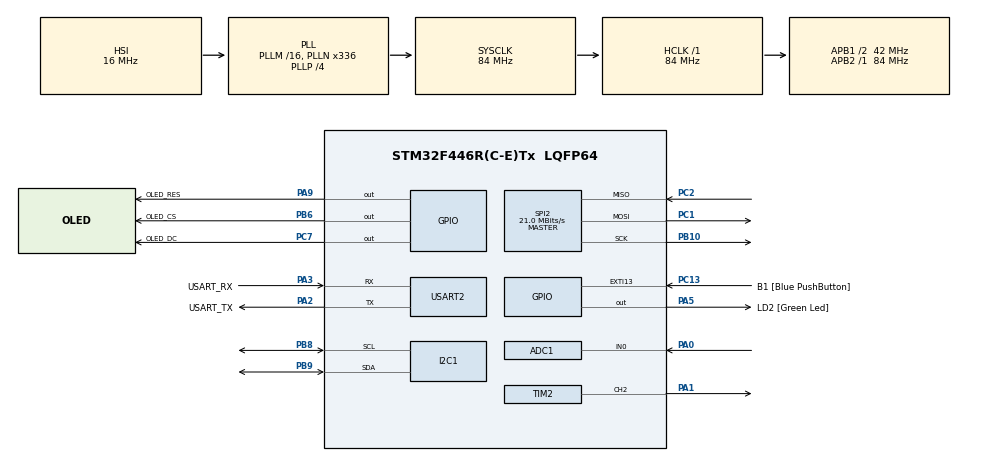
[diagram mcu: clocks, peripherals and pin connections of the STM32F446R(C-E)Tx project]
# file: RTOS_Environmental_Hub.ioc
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ADC1.Channel-0\#ChannelRegularConversion=ADC_CHANNEL_0
ADC1.NbrOfConversionFlag=1
ADC1.Rank-0\#ChannelRegularConversion=1
ADC1.SamplingTime-0\#ChannelRegularConversion=ADC_SAMPLETIME_3CYCLES
ADC1.master=1
FREERTOS.Queues01=temperatureQueue,1,float,0,Dynamic,NULL,NULL;lightLevelQueue,1,uint32_t,0,Dynamic,NULL,NULL;pwmQueue,1,uint32_t,0,Dynamic,NULL,NULL
FREERTOS.Tasks01=defaultTask,24,512,StartDefaultTask,Default,NULL,Dynamic,NULL,NULL;readSensorTask,24,128,StartReadSensorTask,Default,NULL,Dynamic,NULL,NULL;readADCTask,24,128,StartReadADCTask,Default,NULL,Dynamic,NULL,NULL;controlPWMTask,24,256,StartControlPWMTask,Default,NULL,Dynamic,NULL,NULL
FREERTOS.configUSE_NEWLIB_REENTRANT=1
Mcu.Family=STM32F4
Mcu.Name=STM32F446R(C-E)Tx
Mcu.Package=LQFP64
NVIC.EXTI15_10_IRQn=true\:5\:0\:false\:false\:true\:true\:true\:true\:true
NVIC.PriorityGroup=NVIC_PRIORITYGROUP_4
NVIC.TIM1_UP_TIM10_IRQn=true\:15\:0\:false\:false\:true\:false\:false\:true\:true
NVIC.TimeBase=TIM1_UP_TIM10_IRQn
NVIC.TimeBaseIP=TIM1
PA0-WKUP.Signal=ADCx_IN0
PA1.Signal=S_TIM2_CH2
PA13.GPIO_Label=TMS
PA13.Mode=Serial_Wire
PA13.Signal=SYS_JTMS-SWDIO
PA14.GPIO_Label=TCK
PA14.Mode=Serial_Wire
PA14.Signal=SYS_JTCK-SWCLK
PA2.GPIO_Label=USART_TX
PA2.Mode=Asynchronous
PA2.Signal=USART2_TX
PA3.GPIO_Label=USART_RX
PA3.Mode=Asynchronous
PA3.Signal=USART2_RX
PA5.GPIO_Label=LD2 [Green Led]
PA5.Signal=GPIO_Output
PA9.GPIO_Label=OLED_RES
PA9.Signal=GPIO_Output
PB10.Mode=Full_Duplex_Master
PB10.Signal=SPI2_SCK
PB3.GPIO_Label=SWO
PB3.Signal=SYS_JTDO-SWO
PB6.GPIO_Label=OLED_CS
PB6.Signal=GPIO_Output
PB8.Mode=I2C
PB8.Signal=I2C1_SCL
PB9.Mode=I2C
PB9.Signal=I2C1_SDA
PC1.Mode=Full_Duplex_Master
PC1.Signal=SPI2_MOSI
PC13.GPIO_Label=B1 [Blue PushButton]
PC13.GPIO_ModeDefaultEXTI=GPIO_MODE_IT_FALLING
PC13.Signal=GPXTI13
PC14-OSC32_IN.Mode=LSE-External-Oscillator
PC14-OSC32_IN.Signal=RCC_OSC32_IN
PC15-OSC32_OUT.Mode=LSE-External-Oscillator
PC15-OSC32_OUT.Signal=RCC_OSC32_OUT
PC2.Mode=Full_Duplex_Master
PC2.Signal=SPI2_MISO
PC7.GPIO_Label=OLED_DC
PC7.Signal=GPIO_Output
PH0-OSC_IN.Mode=HSE-External-Oscillator
PH0-OSC_IN.Signal=RCC_OSC_IN
PH1-OSC_OUT.Mode=HSE-External-Oscillator
PH1-OSC_OUT.Signal=RCC_OSC_OUT
ProjectManager.HeapSize=0x200
ProjectManager.StackSize=0x400
ProjectManager.TargetToolchain=STM32CubeIDE
RCC.48MHZClocksFreq_Value=84000000
RCC.AHBFreq_Value=84000000
RCC.APB1CLKDivider=RCC_HCLK_DIV2
RCC.APB1Freq_Value=42000000
RCC.APB1TimFreq_Value=84000000
RCC.APB2Freq_Value=84000000
RCC.APB2TimFreq_Value=84000000
RCC.CortexFreq_Value=84000000
RCC.FLatency-AdvancedSettings=FLASH_LATENCY_2
RCC.HCLKFreq_Value=84000000
RCC.HSE_VALUE=8000000
RCC.HSI_VALUE=16000000
RCC.PLLN=336
RCC.PLLP=RCC_PLLP_DIV4
RCC.SYSCLKFreq_VALUE=84000000
RCC.SYSCLKSource=RCC_SYSCLKSOURCE_PLLCLK
RCC.USBFreq_Value=168000000
RCC.VCOOutputFreq_Value=336000000
SH.ADCx_IN0.0=ADC1_IN0,IN0
SH.S_TIM2_CH2.0=TIM2_CH2,PWM Generation2 CH2
SPI2.CalculateBaudRate=21.0 MBits/s
SPI2.Direction=SPI_DIRECTION_2LINES
SPI2.Mode=SPI_MODE_MASTER
SPI2.VirtualType=VM_MASTER
TIM2.Channel-PWM\ Generation2\ CH2=TIM_CHANNEL_2
TIM2.Period=1000
USART2.VirtualMode=VM_ASYNC
VP_FREERTOS_VS_CMSIS_V2.Mode=CMSIS_V2
VP_SYS_VS_tim1.Mode=TIM1
VP_TIM2_VS_ClockSourceINT.Mode=Internal
board=NUCLEO-F446RE

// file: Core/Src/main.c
/* USER CODE BEGIN Header */
/**
 ******************************************************************************
 * @file           : main.c
 * @brief          : Main program body
 ******************************************************************************
 * @attention
 *
 * Copyright (c) 2025 STMicroelectronics.
 * All rights reserved.
 *
 * This software is licensed under terms that can be found in the LICENSE file
 * in the root directory of this software component.
 * If no LICENSE file comes with this software, it is provided AS-IS.
 *
 ******************************************************************************
 */
/* USER CODE END Header */
#include "main.h"
#include "cmsis_os.h"

/* USER CODE BEGIN Includes */
#include "bmp280.h"
#include <stdio.h>
#include "sh1106.h"
#include "fonts.h"
/* USER CODE END Includes */

/* USER CODE BEGIN PD */
#define TIMEOUT 100
/* USER CODE END PD */

ADC_HandleTypeDef hadc1;

I2C_HandleTypeDef hi2c1;

SPI_HandleTypeDef hspi2;

TIM_HandleTypeDef htim2;

UART_HandleTypeDef huart2;

/* Definitions for defaultTask */
osThreadId_t defaultTaskHandle;
const osThreadAttr_t defaultTask_attributes = {
  .name = "defaultTask",
  .stack_size = 512 * 4,
  .priority = (osPriority_t) osPriorityNormal,
};
/* Definitions for readSensorTask */
osThreadId_t readSensorTaskHandle;
const osThreadAttr_t readSensorTask_attributes = {
  .name = "readSensorTask",
  .stack_size = 128 * 4,
  .priority = (osPriority_t) osPriorityNormal,
};
/* Definitions for readADCTask */
osThreadId_t readADCTaskHandle;
const osThreadAttr_t readADCTask_attributes = {
  .name = "readADCTask",
  .stack_size = 128 * 4,
  .priority = (osPriority_t) osPriorityNormal,
};
/* Definitions for controlPWMTask */
osThreadId_t controlPWMTaskHandle;
const osThreadAttr_t controlPWMTask_attributes = {
  .name = "controlPWMTask",
  .stack_size = 256 * 4,
  .priority = (osPriority_t) osPriorityNormal,
};
/* Definitions for temperatureQueue */
osMessageQueueId_t temperatureQueueHandle;
const osMessageQueueAttr_t temperatureQueue_attributes = {
  .name = "temperatureQueue"
};
/* Definitions for lightLevelQueue */
osMessageQueueId_t lightLevelQueueHandle;
const osMessageQueueAttr_t lightLevelQueue_attributes = {
  .name = "lightLevelQueue"
};
/* Definitions for pwmQueue */
osMessageQueueId_t pwmQueueHandle;
const osMessageQueueAttr_t pwmQueue_attributes = {
  .name = "pwmQueue"
};

void SystemClock_Config(void);
static void MX_GPIO_Init(void);
static void MX_USART2_UART_Init(void);
static void MX_I2C1_Init(void);
static void MX_ADC1_Init(void);
static void MX_TIM2_Init(void);
static void MX_SPI2_Init(void);
void StartDefaultTask(void *argument);
void StartReadSensorTask(void *argument);
void StartReadADCTask(void *argument);
void StartControlPWMTask(void *argument);

int main(void)
{

  /* MCU Configuration--------------------------------------------------------*/

  /* Reset of all peripherals, Initializes the Flash interface and the Systick. */
  HAL_Init();

  /* Configure the system clock */
  SystemClock_Config();

  /* Initialize all configured peripherals */
  MX_GPIO_Init();
  MX_USART2_UART_Init();
  MX_I2C1_Init();
  MX_ADC1_Init();
  MX_TIM2_Init();
  MX_SPI2_Init();
  /* USER CODE BEGIN 2 */
	if (BMP280_Check() == BMP280_SUCCESS) {
		BMP280_Read_Calibration();

		BMP280_SetOSRST(BMP280_OSRS_T_x16);
		BMP280_SetOSRSP(BMP280_OSRS_P_x16);

		//set the sensor to Normal Mode to take continuous measurements
		BMP280_SetMode(BMP280_MODE_NORMAL);
	}
	HAL_TIM_PWM_Start(&htim2, TIM_CHANNEL_2);

	sh1106_Init();
  /* USER CODE END 2 */

  /* Init scheduler */
  osKernelInitialize();

  /* Create the queue(s) */
  /* creation of temperatureQueue */
  temperatureQueueHandle = osMessageQueueNew (1, sizeof(float), &temperatureQueue_attributes);

  /* creation of lightLevelQueue */
  lightLevelQueueHandle = osMessageQueueNew (1, sizeof(uint32_t), &lightLevelQueue_attributes);

  /* creation of pwmQueue */
  pwmQueueHandle = osMessageQueueNew (1, sizeof(uint32_t), &pwmQueue_attributes);

  /* Create the thread(s) */
  /* creation of defaultTask */
  defaultTaskHandle = osThreadNew(StartDefaultTask, NULL, &defaultTask_attributes);

  /* creation of readSensorTask */
  readSensorTaskHandle = osThreadNew(StartReadSensorTask, NULL, &readSensorTask_attributes);

  /* creation of readADCTask */
  readADCTaskHandle = osThreadNew(StartReadADCTask, NULL, &readADCTask_attributes);

  /* creation of controlPWMTask */
  controlPWMTaskHandle = osThreadNew(StartControlPWMTask, NULL, &controlPWMTask_attributes);

  /* Start scheduler */
  osKernelStart();

  /* We should never get here as control is now taken by the scheduler */

  /* Infinite loop */
	while (1)
	{

	}
}

void SystemClock_Config(void)
{
  RCC_OscInitTypeDef RCC_OscInitStruct = {0};
  RCC_ClkInitTypeDef RCC_ClkInitStruct = {0};

  /** Configure the main internal regulator output voltage
  */
  __HAL_RCC_PWR_CLK_ENABLE();
  __HAL_PWR_VOLTAGESCALING_CONFIG(PWR_REGULATOR_VOLTAGE_SCALE3);

  /** Initializes the RCC Oscillators according to the specified parameters
  * in the RCC_OscInitTypeDef structure.
  */
  RCC_OscInitStruct.OscillatorType = RCC_OSCILLATORTYPE_HSI;
  RCC_OscInitStruct.HSIState = RCC_HSI_ON;
  RCC_OscInitStruct.HSICalibrationValue = RCC_HSICALIBRATION_DEFAULT;
  RCC_OscInitStruct.PLL.PLLState = RCC_PLL_ON;
  RCC_OscInitStruct.PLL.PLLSource = RCC_PLLSOURCE_HSI;
  RCC_OscInitStruct.PLL.PLLM = 16;
  RCC_OscInitStruct.PLL.PLLN = 336;
  RCC_OscInitStruct.PLL.PLLP = RCC_PLLP_DIV4;
  RCC_OscInitStruct.PLL.PLLQ = 2;
  RCC_OscInitStruct.PLL.PLLR = 2;
  if (HAL_RCC_OscConfig(&RCC_OscInitStruct) != HAL_OK)
  {
    Error_Handler();
  }

  /** Initializes the CPU, AHB and APB buses clocks
  */
  RCC_ClkInitStruct.ClockType = RCC_CLOCKTYPE_HCLK|RCC_CLOCKTYPE_SYSCLK
                              |RCC_CLOCKTYPE_PCLK1|RCC_CLOCKTYPE_PCLK2;
  RCC_ClkInitStruct.SYSCLKSource = RCC_SYSCLKSOURCE_PLLCLK;
  RCC_ClkInitStruct.AHBCLKDivider = RCC_SYSCLK_DIV1;
  RCC_ClkInitStruct.APB1CLKDivider = RCC_HCLK_DIV2;
  RCC_ClkInitStruct.APB2CLKDivider = RCC_HCLK_DIV1;

  if (HAL_RCC_ClockConfig(&RCC_ClkInitStruct, FLASH_LATENCY_2) != HAL_OK)
  {
    Error_Handler();
  }
}

static void MX_ADC1_Init(void)
{

  ADC_ChannelConfTypeDef sConfig = {0};

  /** Configure the global features of the ADC (Clock, Resolution, Data Alignment and number of conversion)
  */
  hadc1.Instance = ADC1;
  hadc1.Init.ClockPrescaler = ADC_CLOCK_SYNC_PCLK_DIV4;
  hadc1.Init.Resolution = ADC_RESOLUTION_12B;
  hadc1.Init.ScanConvMode = DISABLE;
  hadc1.Init.ContinuousConvMode = DISABLE;
  hadc1.Init.DiscontinuousConvMode = DISABLE;
  hadc1.Init.ExternalTrigConvEdge = ADC_EXTERNALTRIGCONVEDGE_NONE;
  hadc1.Init.ExternalTrigConv = ADC_SOFTWARE_START;
  hadc1.Init.DataAlign = ADC_DATAALIGN_RIGHT;
  hadc1.Init.NbrOfConversion = 1;
  hadc1.Init.DMAContinuousRequests = DISABLE;
  hadc1.Init.EOCSelection = ADC_EOC_SINGLE_CONV;
  if (HAL_ADC_Init(&hadc1) != HAL_OK)
  {
    Error_Handler();
  }

  /** Configure for the selected ADC regular channel its corresponding rank in the sequencer and its sample time.
  */
  sConfig.Channel = ADC_CHANNEL_0;
  sConfig.Rank = 1;
  sConfig.SamplingTime = ADC_SAMPLETIME_3CYCLES;
  if (HAL_ADC_ConfigChannel(&hadc1, &sConfig) != HAL_OK)
  {
    Error_Handler();
  }

}

static void MX_I2C1_Init(void)
{

  hi2c1.Instance = I2C1;
  hi2c1.Init.ClockSpeed = 100000;
  hi2c1.Init.DutyCycle = I2C_DUTYCYCLE_2;
  hi2c1.Init.OwnAddress1 = 0;
  hi2c1.Init.AddressingMode = I2C_ADDRESSINGMODE_7BIT;
  hi2c1.Init.DualAddressMode = I2C_DUALADDRESS_DISABLE;
  hi2c1.Init.OwnAddress2 = 0;
  hi2c1.Init.GeneralCallMode = I2C_GENERALCALL_DISABLE;
  hi2c1.Init.NoStretchMode = I2C_NOSTRETCH_DISABLE;
  if (HAL_I2C_Init(&hi2c1) != HAL_OK)
  {
    Error_Handler();
  }

}

static void MX_SPI2_Init(void)
{

  /* SPI2 parameter configuration*/
  hspi2.Instance = SPI2;
  hspi2.Init.Mode = SPI_MODE_MASTER;
  hspi2.Init.Direction = SPI_DIRECTION_2LINES;
  hspi2.Init.DataSize = SPI_DATASIZE_8BIT;
  hspi2.Init.CLKPolarity = SPI_POLARITY_LOW;
  hspi2.Init.CLKPhase = SPI_PHASE_1EDGE;
  hspi2.Init.NSS = SPI_NSS_SOFT;
  hspi2.Init.BaudRatePrescaler = SPI_BAUDRATEPRESCALER_2;
  hspi2.Init.FirstBit = SPI_FIRSTBIT_MSB;
  hspi2.Init.TIMode = SPI_TIMODE_DISABLE;
  hspi2.Init.CRCCalculation = SPI_CRCCALCULATION_DISABLE;
  hspi2.Init.CRCPolynomial = 10;
  if (HAL_SPI_Init(&hspi2) != HAL_OK)
  {
    Error_Handler();
  }

}

static void MX_TIM2_Init(void)
{

  TIM_ClockConfigTypeDef sClockSourceConfig = {0};
  TIM_MasterConfigTypeDef sMasterConfig = {0};
  TIM_OC_InitTypeDef sConfigOC = {0};

  htim2.Instance = TIM2;
  htim2.Init.Prescaler = 0;
  htim2.Init.CounterMode = TIM_COUNTERMODE_UP;
  htim2.Init.Period = 1000;
  htim2.Init.ClockDivision = TIM_CLOCKDIVISION_DIV1;
  htim2.Init.AutoReloadPreload = TIM_AUTORELOAD_PRELOAD_DISABLE;
  if (HAL_TIM_Base_Init(&htim2) != HAL_OK)
  {
    Error_Handler();
  }
  sClockSourceConfig.ClockSource = TIM_CLOCKSOURCE_INTERNAL;
  if (HAL_TIM_ConfigClockSource(&htim2, &sClockSourceConfig) != HAL_OK)
  {
    Error_Handler();
  }
  if (HAL_TIM_PWM_Init(&htim2) != HAL_OK)
  {
    Error_Handler();
  }
  sMasterConfig.MasterOutputTrigger = TIM_TRGO_RESET;
  sMasterConfig.MasterSlaveMode = TIM_MASTERSLAVEMODE_DISABLE;
  if (HAL_TIMEx_MasterConfigSynchronization(&htim2, &sMasterConfig) != HAL_OK)
  {
    Error_Handler();
  }
  sConfigOC.OCMode = TIM_OCMODE_PWM1;
  sConfigOC.Pulse = 0;
  sConfigOC.OCPolarity = TIM_OCPOLARITY_HIGH;
  sConfigOC.OCFastMode = TIM_OCFAST_DISABLE;
  if (HAL_TIM_PWM_ConfigChannel(&htim2, &sConfigOC, TIM_CHANNEL_2) != HAL_OK)
  {
    Error_Handler();
  }
  HAL_TIM_MspPostInit(&htim2);

}

static void MX_USART2_UART_Init(void)
{

  huart2.Instance = USART2;
  huart2.Init.BaudRate = 115200;
  huart2.Init.WordLength = UART_WORDLENGTH_8B;
  huart2.Init.StopBits = UART_STOPBITS_1;
  huart2.Init.Parity = UART_PARITY_NONE;
  huart2.Init.Mode = UART_MODE_TX_RX;
  huart2.Init.HwFlowCtl = UART_HWCONTROL_NONE;
  huart2.Init.OverSampling = UART_OVERSAMPLING_16;
  if (HAL_UART_Init(&huart2) != HAL_OK)
  {
    Error_Handler();
  }

}

static void MX_GPIO_Init(void)
{
  GPIO_InitTypeDef GPIO_InitStruct = {0};

  /* GPIO Ports Clock Enable */
  __HAL_RCC_GPIOC_CLK_ENABLE();
  __HAL_RCC_GPIOH_CLK_ENABLE();
  __HAL_RCC_GPIOA_CLK_ENABLE();
  __HAL_RCC_GPIOB_CLK_ENABLE();

  /*Configure GPIO pin Output Level */
  HAL_GPIO_WritePin(GPIOA, LD2_Pin|OLED_RES_Pin, GPIO_PIN_RESET);

  /*Configure GPIO pin Output Level */
  HAL_GPIO_WritePin(OLED_DC_GPIO_Port, OLED_DC_Pin, GPIO_PIN_RESET);

  /*Configure GPIO pin Output Level */
  HAL_GPIO_WritePin(OLED_CS_GPIO_Port, OLED_CS_Pin, GPIO_PIN_RESET);

  /*Configure GPIO pin : B1_Pin */
  GPIO_InitStruct.Pin = B1_Pin;
  GPIO_InitStruct.Mode = GPIO_MODE_IT_FALLING;
  GPIO_InitStruct.Pull = GPIO_NOPULL;
  HAL_GPIO_Init(B1_GPIO_Port, &GPIO_InitStruct);

  /*Configure GPIO pins : LD2_Pin OLED_RES_Pin */
  GPIO_InitStruct.Pin = LD2_Pin|OLED_RES_Pin;
  GPIO_InitStruct.Mode = GPIO_MODE_OUTPUT_PP;
  GPIO_InitStruct.Pull = GPIO_NOPULL;
  GPIO_InitStruct.Speed = GPIO_SPEED_FREQ_LOW;
  HAL_GPIO_Init(GPIOA, &GPIO_InitStruct);

  /*Configure GPIO pin : OLED_DC_Pin */
  GPIO_InitStruct.Pin = OLED_DC_Pin;
  GPIO_InitStruct.Mode = GPIO_MODE_OUTPUT_PP;
  GPIO_InitStruct.Pull = GPIO_NOPULL;
  GPIO_InitStruct.Speed = GPIO_SPEED_FREQ_LOW;
  HAL_GPIO_Init(OLED_DC_GPIO_Port, &GPIO_InitStruct);

  /*Configure GPIO pin : OLED_CS_Pin */
  GPIO_InitStruct.Pin = OLED_CS_Pin;
  GPIO_InitStruct.Mode = GPIO_MODE_OUTPUT_PP;
  GPIO_InitStruct.Pull = GPIO_NOPULL;
  GPIO_InitStruct.Speed = GPIO_SPEED_FREQ_LOW;
  HAL_GPIO_Init(OLED_CS_GPIO_Port, &GPIO_InitStruct);

  /* EXTI interrupt init*/
  HAL_NVIC_SetPriority(EXTI15_10_IRQn, 5, 0);
  HAL_NVIC_EnableIRQ(EXTI15_10_IRQn);

}

/* USER CODE BEGIN 4 */
void HAL_GPIO_EXTI_Callback(uint16_t GPIO_Pin)
{
	HAL_GPIO_TogglePin(GPIOA, GPIO_PIN_5);
}
/* USER CODE END 4 */

void StartDefaultTask(void *argument)
{
  /* USER CODE BEGIN 5 */
  static float temperatureF = 0.0f;
  static uint32_t lightLevel = 0;
  uint32_t scaledLightLevel = 0;

  static uint8_t hasReceivedTemp = 0;
  static uint8_t hasReceivedLight = 0;

  char tempStr[20];
  char lightStr[20];

  /* Infinite loop */
  for(;;)
  {
    //check for a new temperature reading and update the variable if found
    if (osMessageQueueGet(temperatureQueueHandle, &temperatureF, NULL, 10) == osOK)
    {
        hasReceivedTemp = 1;
    }

    //check for a new light level reading and update the variable if found
    if (osMessageQueueGet(lightLevelQueueHandle, &lightLevel, NULL, 10) == osOK)
    {
        hasReceivedLight = 1;
    }

    //display content
    //clear the entire screen buffer before drawing new content
    sh1106_Fill(Black);

    //always use the last known value.
    if (hasReceivedTemp) {
        sprintf(tempStr, "Temp: %.1f F", temperatureF);
    } else {
        sprintf(tempStr, "Reading Temp...");
    }

    //always use the last known value.
    if (hasReceivedLight) {
        //scale the raw ADC value (0-4095) to a percentage (0-100)
        scaledLightLevel = (lightLevel * 100) / 4095;
        sprintf(lightStr, "Light: %lu%%", scaledLightLevel);
    } else {
        sprintf(lightStr, "Reading Light...");
    }

    //draw content to the buffer
    //set cursor for the first line (Y=5)
    sh1106_SetCursor(2, 5);
    sh1106_WriteString(tempStr, Font_7x10, White);

    //set cursor for the second line (Y=25)
    sh1106_SetCursor(2, 25);
    sh1106_WriteString(lightStr, Font_7x10, White);

    sh1106_UpdateScreen();

    osDelay(250);
  }
  /* USER CODE END 5 */
}
void StartReadSensorTask(void *argument)
{
  /* USER CODE BEGIN StartReadSensorTask */
	int32_t raw_temp;
	float temp;

	/* Infinite loop */
	for(;;)
	{
		//read the raw temperature value from the sensor
		BMP280_Read_UT(&raw_temp);

		//convert the raw value to a float in degrees Fahrenheit
		temp = (float)BMP280_CalcT(raw_temp) / 100.0f * (float)9/5 + 32;

		//put the temperature value into the queue
		osMessageQueuePut(temperatureQueueHandle, &temp, 0, 0);

		osDelay(500);
	}
  /* USER CODE END StartReadSensorTask */
}

void StartReadADCTask(void *argument)
{
  /* USER CODE BEGIN StartReadADCTask */
	uint32_t adc_value;

	/* Infinite loop */
	for(;;)
	{
	    HAL_ADC_Start(&hadc1);
	    HAL_ADC_PollForConversion(&hadc1,100);
	    adc_value = HAL_ADC_GetValue(&hadc1);
	    HAL_ADC_Stop(&hadc1);

	    osMessageQueuePut(lightLevelQueueHandle, &adc_value, 0 ,0);
	    osMessageQueuePut(pwmQueueHandle, &adc_value, 0, 0);

	    osDelay(500);
	}

  /* USER CODE END StartReadADCTask */
}

void StartControlPWMTask(void *argument)
{
  /* USER CODE BEGIN StartControlPWMTask */
	uint32_t adc_value;
	uint32_t pwm_value;
	char uart_buf[50];
	int uart_buf_len;

	/* Infinite loop */
	for(;;)
	{
	    osMessageQueueGet(pwmQueueHandle, &adc_value, NULL, osWaitForever);

	    uart_buf_len = sprintf(uart_buf, "ADC in: %lu\r\n", adc_value);
	    HAL_UART_Transmit(&huart2, (uint8_t *)uart_buf, uart_buf_len, 100);

	    pwm_value = 1000 - ((adc_value * 1000) / 4095);

	    uart_buf_len = sprintf(uart_buf, "PWM out: %lu\r\n\n", pwm_value);
	    HAL_UART_Transmit(&huart2, (uint8_t *)uart_buf, uart_buf_len, 100);

	    __HAL_TIM_SET_COMPARE(&htim2, TIM_CHANNEL_2, pwm_value);
	}
  /* USER CODE END StartControlPWMTask */
}

void HAL_TIM_PeriodElapsedCallback(TIM_HandleTypeDef *htim)
{
  if (htim->Instance == TIM1)
  {
    HAL_IncTick();
  }
}

void Error_Handler(void)
{
	__disable_irq();
	while (1)
	{
	}
}
